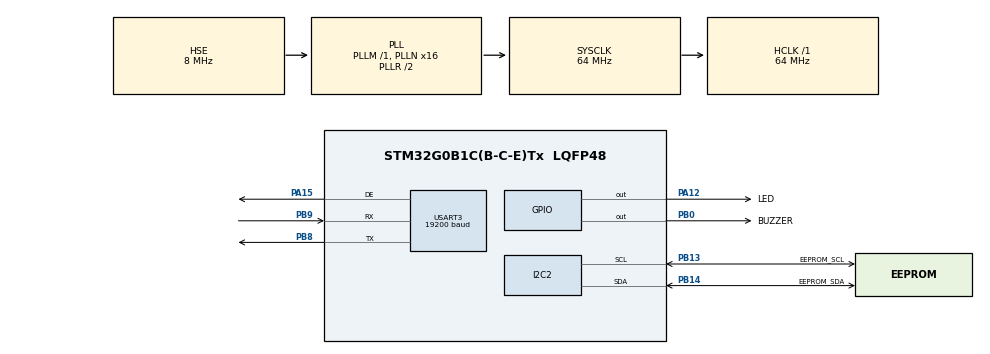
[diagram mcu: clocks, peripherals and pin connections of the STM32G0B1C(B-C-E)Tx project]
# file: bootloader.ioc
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I2C2.Timing=0x10B17DB5
IWDG.Prescaler=IWDG_PRESCALER_32
Mcu.Family=STM32G0
Mcu.Name=STM32G0B1C(B-C-E)Tx
Mcu.Package=LQFP48
NVIC.USART3_4_5_6_LPUART1_IRQn=true\:0\:0\:false\:false\:true\:true\:true\:true
PA12\ [PA10].GPIO_Label=LED
PA12\ [PA10].Signal=GPIO_Output
PA13.Mode=Serial_Wire
PA13.Signal=SYS_SWDIO
PA14-BOOT0.Mode=Serial_Wire
PA14-BOOT0.Signal=SYS_SWCLK
PA15.Mode=Hardware Flow Control (RS485)
PA15.Signal=USART3_DE
PB0.GPIO_Label=BUZZER
PB0.Signal=GPIO_Output
PB13.GPIO_Label=EEPROM_SCL
PB13.Mode=I2C
PB13.Signal=I2C2_SCL
PB14.GPIO_Label=EEPROM_SDA
PB14.Mode=I2C
PB14.Signal=I2C2_SDA
PB8.Signal=SharedStack_PB8
PB8.Stacked=true
PB9.Signal=SharedStack_PB9
PB9.Stacked=true
PF0-OSC_IN\ (PF0).Mode=HSE-External-Oscillator
PF0-OSC_IN\ (PF0).Signal=RCC_OSC_IN
PF1-OSC_OUT\ (PF1).Mode=HSE-External-Oscillator
PF1-OSC_OUT\ (PF1).Signal=RCC_OSC_OUT
ProjectManager.HeapSize=0x200
ProjectManager.StackSize=0x400
ProjectManager.TargetToolchain=STM32CubeIDE
RCC.ADCFreq_Value=64000000
RCC.AHBFreq_Value=64000000
RCC.CortexFreq_Value=64000000
RCC.EXTERNAL_CLOCK_VALUE=48000
RCC.HCLKFreq_Value=64000000
RCC.HSE_VALUE=8000000
RCC.HSI48_VALUE=48000000
RCC.HSI_VALUE=16000000
RCC.LSE_VALUE=32768
RCC.PLLN=16
RCC.PLLSourceVirtual=RCC_PLLSOURCE_HSE
RCC.SYSCLKFreq_VALUE=64000000
RCC.SYSCLKSource=RCC_SYSCLKSOURCE_PLLCLK
RCC.USBFreq_Value=48000000
RCC.VCOOutputFreq_Value=128000000
SH.SharedStack_PB8.0=USART3_TX,Asynchronous
SH.SharedStack_PB8.1=FDCAN1_RX
SH.SharedStack_PB9.0=USART3_RX,Asynchronous
SH.SharedStack_PB9.1=FDCAN1_TX
TIM16.Period=65535
TIM16.Prescaler=3199
USART3.BaudRate=19200
USART3.SwapParam=ADVFEATURE_SWAP_DISABLE
USART3.VirtualMode-Asynchronous=VM_ASYNC
USART3.VirtualMode-Hardware\ Flow\ Control\ (RS485)=VM_ASYNC
VP_CRC_VS_CRC.Mode=CRC_Activate
VP_IWDG_VS_IWDG.Mode=IWDG_Activate
VP_SYS_VS_DBSignals.Mode=DisableDeadBatterySignals
VP_TIM16_VS_ClockSourceINT.Mode=Enable_Timer
board=custom

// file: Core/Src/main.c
/* USER CODE BEGIN Header */
/**
  ******************************************************************************
  * @file           : main.c
  * @brief          : Main program body
  ******************************************************************************
  * @attention
  *
  * Copyright (c) 2025 STMicroelectronics.
  * All rights reserved.
  *
  * This software is licensed under terms that can be found in the LICENSE file
  * in the root directory of this software component.
  * If no LICENSE file comes with this software, it is provided AS-IS.
  *
  ******************************************************************************
  */
/* USER CODE END Header */
#include "main.h"

/* USER CODE BEGIN Includes */
#include "modbus.h"
#include "otw.h"
#include "shared.h"
#include "utils.h"
#include <stdbool.h>

/* USER CODE END Includes */

CRC_HandleTypeDef hcrc;

I2C_HandleTypeDef hi2c2;

IWDG_HandleTypeDef hiwdg;

TIM_HandleTypeDef htim16;

UART_HandleTypeDef huart3;

/* USER CODE BEGIN PV */

extern uint32_t _bflag;
uint32_t *bootloaderFlag  = (uint32_t *)(&_bflag);

/* USER CODE END PV */

void SystemClock_Config(void);
static void MX_GPIO_Init(void);
static void MX_USART3_UART_Init(void);
static void MX_I2C2_Init(void);
static void MX_TIM16_Init(void);
static void MX_CRC_Init(void);
/* USER CODE BEGIN PFP */
void Jump_To_Application(void);
void IWDG_EarlyInit(void);
/* USER CODE END PFP */

int main(void)
{

  /* USER CODE BEGIN 1 */
  __HAL_DBGMCU_FREEZE_IWDG();
  IWDG_EarlyInit();

  if(__HAL_RCC_GET_FLAG(RCC_FLAG_IWDGRST)) // APP failed WDG Reset - proceed to BOOTLOADER update mode
  {
	  __HAL_RCC_CLEAR_RESET_FLAGS();
	  // BOOTLOADER
  }
  else if(__HAL_RCC_GET_FLAG(RCC_FLAG_SFTRST))
  {
	  if(*bootloaderFlag == BOOTFLAG_BOOTLOADER)
	  {
		  // BOOTLOADER
	  }
	  if(*bootloaderFlag == BOOTFLAG_APP_OTW || *bootloaderFlag == BOOTFLAG_APP)
	  {
		  // APP
		  Jump_To_Application();
	  }
  }
  else
  {
 	  *bootloaderFlag = BOOTFLAG_APP;
	  Jump_To_Application();
  }

  /* USER CODE END 1 */

  /* MCU Configuration--------------------------------------------------------*/

  /* Reset of all peripherals, Initializes the Flash interface and the Systick. */
  HAL_Init();

  /* Configure the system clock */
  SystemClock_Config();

  /* Initialize all configured peripherals */
  MX_GPIO_Init();
  MX_USART3_UART_Init();
  MX_I2C2_Init();
  MX_TIM16_Init();
  MX_CRC_Init();
  /* USER CODE BEGIN 2 */

  hiwdg.Instance = IWDG;
  COM_Init();
  /* USER CODE END 2 */

  /* Infinite loop */
  /* USER CODE BEGIN WHILE */
  BEEP_IT(50, 3);
  while (1)
  {
	 COM_MainLoop();

    /* USER CODE END WHILE */

    /* USER CODE BEGIN 3 */
	 UTILS_MainLoop();
	 HAL_IWDG_Refresh(&hiwdg);
  }

  /* USER CODE END 3 */
}

void SystemClock_Config(void)
{
  RCC_OscInitTypeDef RCC_OscInitStruct = {0};
  RCC_ClkInitTypeDef RCC_ClkInitStruct = {0};

  /** Configure the main internal regulator output voltage
  */
  HAL_PWREx_ControlVoltageScaling(PWR_REGULATOR_VOLTAGE_SCALE1);

  /** Initializes the RCC Oscillators according to the specified parameters
  * in the RCC_OscInitTypeDef structure.
  */
  RCC_OscInitStruct.OscillatorType = RCC_OSCILLATORTYPE_LSI|RCC_OSCILLATORTYPE_HSE;
  RCC_OscInitStruct.HSEState = RCC_HSE_ON;
  RCC_OscInitStruct.LSIState = RCC_LSI_ON;
  RCC_OscInitStruct.PLL.PLLState = RCC_PLL_ON;
  RCC_OscInitStruct.PLL.PLLSource = RCC_PLLSOURCE_HSE;
  RCC_OscInitStruct.PLL.PLLM = RCC_PLLM_DIV1;
  RCC_OscInitStruct.PLL.PLLN = 16;
  RCC_OscInitStruct.PLL.PLLP = RCC_PLLP_DIV2;
  RCC_OscInitStruct.PLL.PLLQ = RCC_PLLQ_DIV2;
  RCC_OscInitStruct.PLL.PLLR = RCC_PLLR_DIV2;
  if (HAL_RCC_OscConfig(&RCC_OscInitStruct) != HAL_OK)
  {
    Error_Handler();
  }

  /** Initializes the CPU, AHB and APB buses clocks
  */
  RCC_ClkInitStruct.ClockType = RCC_CLOCKTYPE_HCLK|RCC_CLOCKTYPE_SYSCLK
                              |RCC_CLOCKTYPE_PCLK1;
  RCC_ClkInitStruct.SYSCLKSource = RCC_SYSCLKSOURCE_PLLCLK;
  RCC_ClkInitStruct.AHBCLKDivider = RCC_SYSCLK_DIV1;
  RCC_ClkInitStruct.APB1CLKDivider = RCC_HCLK_DIV1;

  if (HAL_RCC_ClockConfig(&RCC_ClkInitStruct, FLASH_LATENCY_2) != HAL_OK)
  {
    Error_Handler();
  }
}

static void MX_CRC_Init(void)
{

  hcrc.Instance = CRC;
  hcrc.Init.DefaultPolynomialUse = DEFAULT_POLYNOMIAL_ENABLE;
  hcrc.Init.DefaultInitValueUse = DEFAULT_INIT_VALUE_ENABLE;
  hcrc.Init.InputDataInversionMode = CRC_INPUTDATA_INVERSION_NONE;
  hcrc.Init.OutputDataInversionMode = CRC_OUTPUTDATA_INVERSION_DISABLE;
  hcrc.InputDataFormat = CRC_INPUTDATA_FORMAT_BYTES;
  if (HAL_CRC_Init(&hcrc) != HAL_OK)
  {
    Error_Handler();
  }

}

static void MX_I2C2_Init(void)
{

  hi2c2.Instance = I2C2;
  hi2c2.Init.Timing = 0x10B17DB5;
  hi2c2.Init.OwnAddress1 = 0;
  hi2c2.Init.AddressingMode = I2C_ADDRESSINGMODE_7BIT;
  hi2c2.Init.DualAddressMode = I2C_DUALADDRESS_DISABLE;
  hi2c2.Init.OwnAddress2 = 0;
  hi2c2.Init.OwnAddress2Masks = I2C_OA2_NOMASK;
  hi2c2.Init.GeneralCallMode = I2C_GENERALCALL_DISABLE;
  hi2c2.Init.NoStretchMode = I2C_NOSTRETCH_DISABLE;
  if (HAL_I2C_Init(&hi2c2) != HAL_OK)
  {
    Error_Handler();
  }

  /** Configure Analogue filter
  */
  if (HAL_I2CEx_ConfigAnalogFilter(&hi2c2, I2C_ANALOGFILTER_ENABLE) != HAL_OK)
  {
    Error_Handler();
  }

  /** Configure Digital filter
  */
  if (HAL_I2CEx_ConfigDigitalFilter(&hi2c2, 0) != HAL_OK)
  {
    Error_Handler();
  }

}

void MX_IWDG_Init(void)
{

  hiwdg.Instance = IWDG;
  hiwdg.Init.Prescaler = IWDG_PRESCALER_32;
  hiwdg.Init.Window = 4095;
  hiwdg.Init.Reload = 4095;
  if (HAL_IWDG_Init(&hiwdg) != HAL_OK)
  {
    Error_Handler();
  }

}

static void MX_TIM16_Init(void)
{

  htim16.Instance = TIM16;
  htim16.Init.Prescaler = 3199;
  htim16.Init.CounterMode = TIM_COUNTERMODE_UP;
  htim16.Init.Period = 65535;
  htim16.Init.ClockDivision = TIM_CLOCKDIVISION_DIV1;
  htim16.Init.RepetitionCounter = 0;
  htim16.Init.AutoReloadPreload = TIM_AUTORELOAD_PRELOAD_DISABLE;
  if (HAL_TIM_Base_Init(&htim16) != HAL_OK)
  {
    Error_Handler();
  }

}

static void MX_USART3_UART_Init(void)
{

  huart3.Instance = USART3;
  huart3.Init.BaudRate = 19200;
  huart3.Init.WordLength = UART_WORDLENGTH_8B;
  huart3.Init.StopBits = UART_STOPBITS_1;
  huart3.Init.Parity = UART_PARITY_NONE;
  huart3.Init.Mode = UART_MODE_TX_RX;
  huart3.Init.HwFlowCtl = UART_HWCONTROL_NONE;
  huart3.Init.OverSampling = UART_OVERSAMPLING_16;
  huart3.Init.OneBitSampling = UART_ONE_BIT_SAMPLE_DISABLE;
  huart3.Init.ClockPrescaler = UART_PRESCALER_DIV1;
  huart3.AdvancedInit.AdvFeatureInit = UART_ADVFEATURE_NO_INIT;
  if (HAL_RS485Ex_Init(&huart3, UART_DE_POLARITY_HIGH, 0, 0) != HAL_OK)
  {
    Error_Handler();
  }
  if (HAL_UARTEx_SetTxFifoThreshold(&huart3, UART_TXFIFO_THRESHOLD_1_8) != HAL_OK)
  {
    Error_Handler();
  }
  if (HAL_UARTEx_SetRxFifoThreshold(&huart3, UART_RXFIFO_THRESHOLD_1_8) != HAL_OK)
  {
    Error_Handler();
  }
  if (HAL_UARTEx_DisableFifoMode(&huart3) != HAL_OK)
  {
    Error_Handler();
  }

}

static void MX_GPIO_Init(void)
{
  GPIO_InitTypeDef GPIO_InitStruct = {0};

  /* GPIO Ports Clock Enable */
  __HAL_RCC_GPIOF_CLK_ENABLE();
  __HAL_RCC_GPIOB_CLK_ENABLE();
  __HAL_RCC_GPIOA_CLK_ENABLE();

  /*Configure GPIO pin Output Level */
  HAL_GPIO_WritePin(BUZZER_GPIO_Port, BUZZER_Pin, GPIO_PIN_RESET);

  /*Configure GPIO pin Output Level */
  HAL_GPIO_WritePin(LED_GPIO_Port, LED_Pin, GPIO_PIN_RESET);

  /*Configure GPIO pin : BUZZER_Pin */
  GPIO_InitStruct.Pin = BUZZER_Pin;
  GPIO_InitStruct.Mode = GPIO_MODE_OUTPUT_PP;
  GPIO_InitStruct.Pull = GPIO_NOPULL;
  GPIO_InitStruct.Speed = GPIO_SPEED_FREQ_LOW;
  HAL_GPIO_Init(BUZZER_GPIO_Port, &GPIO_InitStruct);

  /*Configure GPIO pin : LED_Pin */
  GPIO_InitStruct.Pin = LED_Pin;
  GPIO_InitStruct.Mode = GPIO_MODE_OUTPUT_PP;
  GPIO_InitStruct.Pull = GPIO_NOPULL;
  GPIO_InitStruct.Speed = GPIO_SPEED_FREQ_LOW;
  HAL_GPIO_Init(LED_GPIO_Port, &GPIO_InitStruct);

}

/* USER CODE BEGIN 4 */

void Jump_To_Application(void)
{
  __set_MSP(*(__IO uint32_t *) BOOT_APP_ADDRESS);
  void (*app_reset_handler)(void) = (void*)(*((volatile uint32_t*)(BOOT_APP_ADDRESS + 4U)));
  app_reset_handler();
}

void IWDG_EarlyInit(void)
{
    IWDG->KR = 0xCCCC;      // Enable IWDG
    IWDG->KR = 0x5555;      // Enable write access
    IWDG->PR  = 0x03;       // PRESCALER = 32
    IWDG->RLR = 4095;       // Reload = 4095
    IWDG->WINR = 4095;      // Window = 4095

    // Wait until the registers are updated
    while (IWDG->SR != 0);

    IWDG->KR = 0xAAAA;
}

/* USER CODE END 4 */

void Error_Handler(void)
{
  __disable_irq();
  while (1)
  {
  }
}
